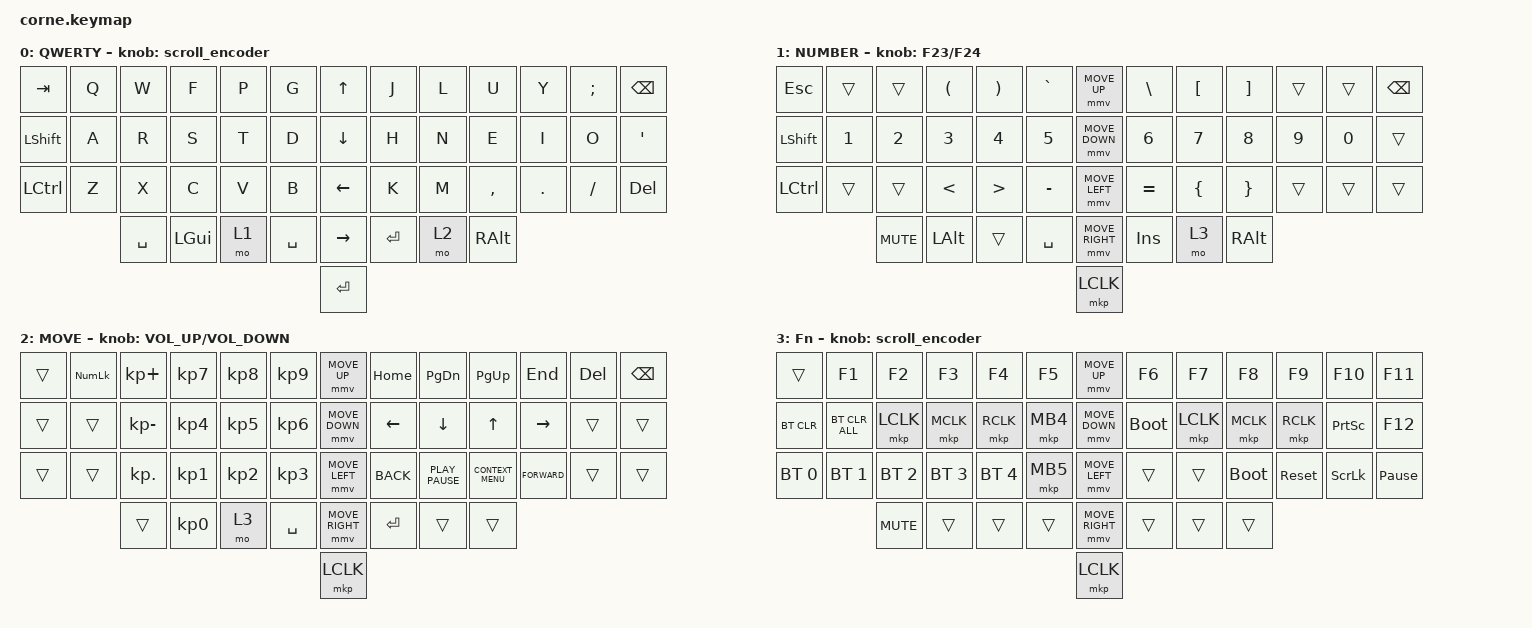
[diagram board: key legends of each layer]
#include <behaviors/mouse_keys.dtsi>
#include <dt-bindings/zmk/mouse.h>
#include <behaviors.dtsi>
#include <dt-bindings/zmk/bt.h>
#include <dt-bindings/zmk/keys.h>
#include <dt-bindings/zmk/pointing.h>
#include <dt-bindings/zmk/rgb.h>

#define ZMK_MOUSE_DEFAULT_MOVE_VAL 1200  // 600
#define ZMK_MOUSE_DEFAULT_SCRL_VAL 20    // 10
#define U_MS_U &mmv MOVE_UP
#define U_MS_D &mmv MOVE_DOWN
#define U_MS_L &mmv MOVE_LEFT
#define U_MS_R &mmv MOVE_RIGHT

/ {
    behaviors {
        td0: td0 {
            compatible = "zmk,behavior-tap-dance";
            label = "TD0";
            #binding-cells = <0>;
            bindings = <&kp LEFT_SHIFT>, <&kp CAPS>;
        };

        mmv {
            acceleration-exponent = <1>;      // 1
            time-to-max-speed-ms = <900>;    // 40
            delay-ms = <0>;                   // 0
        };

        msc {
            acceleration-exponent = <1>;      // 0
            time-to-max-speed-ms = <400>;      // 500
            delay-ms = <0>;                   // 10
        };
    };

    rgb_encoder: rgb_encoder {
        compatible = "zmk,behavior-sensor-rotate";
        label = "RGB_ENCODER";
        #sensor-binding-cells = <0>;
        bindings = <&rgb_ug RGB_BRI>, <&rgb_ug RGB_BRD>;
    };

    scroll_encoder: scroll_encoder {
        compatible = "zmk,behavior-sensor-rotate";
        #sensor-binding-cells = <0>;
        bindings = <&msc SCRL_DOWN>, <&msc SCRL_UP>;

        tap-ms = <30>;
    };

    keymap {
        compatible = "zmk,keymap";

        default_layer {
            display-name = "QWERTY";

            // --------------------------------------------------------------------------------
            // |  TAB |  Q  |  W  |  E  |  R  |  T  |                ↑    |  Y  |  U   |  I  |  O  |  P  | BKSP |      &kp UP_ARROW 
            // | SHIFT |  A  |  S  |  D  |  F  |  G  |               ↓    |  H  |  J   |  K  |  L  |  ;  |  '   | 
            // | CTRL |  Z  |  X  |  C  |  V  |  B  |                ←    |  N  |  M   |  ,  |  .  |  /  | ESC  |
            //                    | GUI | LWR | SPC |                →    | ENT | RSE  | ALT |
            //                                                      enter

            bindings = <
&kp TAB    &kp Q  &kp W      &kp F     &kp P  &kp G        &kp UP_ARROW     &kp J      &kp L  &kp U      &kp Y    &kp SEMICOLON  &kp BSPC
&kp LSHFT  &kp A  &kp R      &kp S     &kp T  &kp D        &kp DOWN_ARROW   &kp H      &kp N  &kp E      &kp I    &kp O          &kp SQT
&kp LCTRL  &kp Z  &kp X      &kp C     &kp V  &kp B        &kp LEFT_ARROW   &kp K      &kp M  &kp COMMA  &kp DOT  &kp FSLH       &kp DEL
                  &kp SPACE  &kp LGUI  &mo 1  &kp SPACE    &kp RIGHT_ARROW  &kp ENTER  &mo 2  &kp RALT
                                                           &kp ENTER
            >;

            label = "QWERTY";
            sensor-bindings = <&scroll_encoder>;
        };

        lower_layer {
            display-name = "NUMBER";

            // -----------------------------------------------------------------------------------------
            // |  TAB |  1  |  2  |  3  |  4  |  5  |   |  6  |  7  |  8  |  9  |  0  | BKSP |
            // | BTCLR| BT1 | BT2 | BT3 | BT4 | BT5 |   | LFT | DWN |  UP | RGT |     |      |
            // | SHFT |     |     |     |     |     |   |     |     |     |     |     |      |
            //                    | GUI |     | SPC |   | ENT |     | ALT |

            bindings = <
&kp ESCAPE        &trans        &trans        &kp LEFT_PARENTHESIS  &kp RIGHT_PARENTHESIS  &kp GRAVE       &mmv MOVE_UP     &kp BACKSLASH  &kp LEFT_BRACKET  &kp RIGHT_BRACKET  &trans        &trans        &kp BSPC
&kp LEFT_SHIFT    &kp NUMBER_1  &kp NUMBER_2  &kp NUMBER_3          &kp NUMBER_4           &kp NUMBER_5    &mmv MOVE_DOWN   &kp NUMBER_6   &kp NUMBER_7      &kp NUMBER_8       &kp NUMBER_9  &kp NUMBER_0  &trans
&kp LEFT_CONTROL  &trans        &trans        &kp LESS_THAN         &kp GREATER_THAN       &kp MINUS       &mmv MOVE_LEFT   &kp EQUAL      &kp LEFT_BRACE    &kp RIGHT_BRACE    &trans        &trans        &trans
                                &kp C_MUTE    &kp LEFT_ALT          &trans                 &kp SPACE       &mmv MOVE_RIGHT  &kp INS        &mo 3             &kp RIGHT_ALT
                                                                                                           &mkp LCLK
            >;

            label = "NUMBER";
            sensor-bindings = <&inc_dec_kp F23 F24>;
        };

        raise_layer {
            display-name = "MOVE";

            // -----------------------------------------------------------------------------------------
            // |  TAB |  !  |  @  |  #  |  $  |  %  |   |  ^  |  &  |  *  |  (  |  )  | BKSP |
            // | CTRL |     |     |     |     |     |   |  -  |  =  |  [  |  ]  |  \  |  `   |
            // | SHFT |     |     |     |     |     |   |  _  |  +  |  {  |  }  | "|" |  ~   |
            //                    | GUI |     | SPC |   | ENT |     | ALT |

            bindings = <
&trans  &kp KP_NUM  &kp KP_PLUS   &kp KP_NUMBER_7  &kp KP_NUMBER_8  &kp KP_NUMBER_9    &mmv MOVE_UP     &kp HOME        &kp PG_DN         &kp PG_UP           &kp END          &kp DEL  &kp BSPC
&trans  &trans      &kp KP_MINUS  &kp KP_NUMBER_4  &kp KP_NUMBER_5  &kp KP_NUMBER_6    &mmv MOVE_DOWN   &kp LEFT_ARROW  &kp DOWN_ARROW    &kp UP_ARROW        &kp RIGHT_ARROW  &trans   &trans
&trans  &trans      &kp KP_DOT    &kp KP_NUMBER_1  &kp KP_NUMBER_2  &kp KP_NUMBER_3    &mmv MOVE_LEFT   &kp K_BACK      &kp K_PLAY_PAUSE  &kp K_CONTEXT_MENU  &kp K_FORWARD    &trans   &trans
                    &trans        &kp KP_N0        &mo 3            &kp SPACE          &mmv MOVE_RIGHT  &kp RET         &trans            &trans
                                                                                       &mkp LCLK
            >;

            label = "SYMBOL";
            sensor-bindings = <&inc_dec_kp C_VOLUME_UP C_VOLUME_DOWN>;
        };

        layer_3 {
            display-name = "Fn";
            bindings = <
&trans        &kp F1          &kp F2        &kp F3        &kp F4        &kp F5      &mmv MOVE_UP     &kp F6       &kp F7     &kp F8       &kp F9      &kp F10          &kp F11
&bt BT_CLR    &bt BT_CLR_ALL  &mkp LCLK     &mkp MCLK     &mkp RCLK     &mkp MB4    &mmv MOVE_DOWN   &bootloader  &mkp LCLK  &mkp MCLK    &mkp RCLK   &kp PRINTSCREEN  &kp F12
&bt BT_SEL 0  &bt BT_SEL 1    &bt BT_SEL 2  &bt BT_SEL 3  &bt BT_SEL 4  &mkp MB5    &mmv MOVE_LEFT   &trans       &trans     &bootloader  &sys_reset  &kp SCROLLLOCK   &kp PAUSE_BREAK
                              &kp C_MUTE    &trans        &trans        &trans      &mmv MOVE_RIGHT  &trans       &trans     &trans
                                                                                    &mkp LCLK
            >;

            label = "FN";
            sensor-bindings = <&scroll_encoder>;
        };
    };
};
